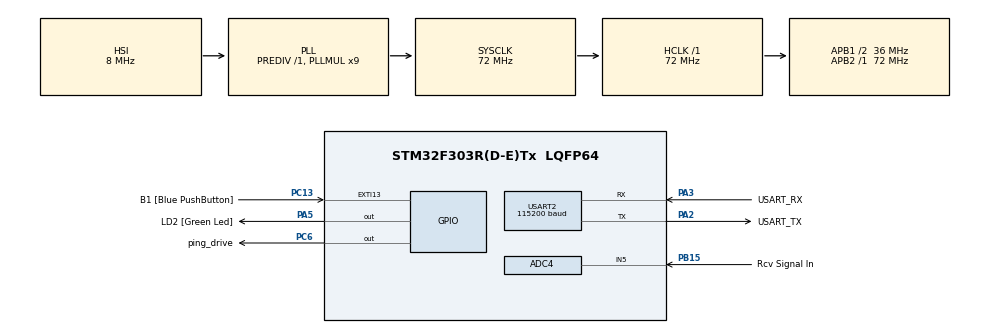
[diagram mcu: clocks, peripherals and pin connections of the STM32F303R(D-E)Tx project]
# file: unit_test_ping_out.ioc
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ADC4.Channel-0\#ChannelRegularConversion=ADC_CHANNEL_5
ADC4.DMAContinuousRequests=ENABLE
ADC4.ExternalTrigConv=ADC_EXTERNALTRIGCONV_T3_TRGO
ADC4.NbrOfConversionFlag=1
ADC4.Offset-0\#ChannelRegularConversion=0
ADC4.OffsetNumber-0\#ChannelRegularConversion=ADC_OFFSET_NONE
ADC4.Rank-0\#ChannelRegularConversion=1
ADC4.SamplingTime-0\#ChannelRegularConversion=ADC_SAMPLETIME_1CYCLE_5
ADC4.SamplingTimeOPAMP-0\#ChannelRegularConversion=ADC_SAMPLETIME_61CYCLES_5
Dma.ADC4.0.Direction=DMA_PERIPH_TO_MEMORY
Dma.ADC4.0.Instance=DMA2_Channel2
Dma.ADC4.0.MemDataAlignment=DMA_MDATAALIGN_HALFWORD
Dma.ADC4.0.MemInc=DMA_MINC_ENABLE
Dma.ADC4.0.Mode=DMA_CIRCULAR
Dma.ADC4.0.PeriphDataAlignment=DMA_PDATAALIGN_HALFWORD
Dma.ADC4.0.PeriphInc=DMA_PINC_DISABLE
Dma.ADC4.0.Priority=DMA_PRIORITY_VERY_HIGH
Dma.Request0=ADC4
Dma.Request1=TIM2_UP
Dma.TIM2_UP.1.Direction=DMA_MEMORY_TO_PERIPH
Dma.TIM2_UP.1.Instance=DMA1_Channel2
Dma.TIM2_UP.1.MemDataAlignment=DMA_MDATAALIGN_WORD
Dma.TIM2_UP.1.MemInc=DMA_MINC_ENABLE
Dma.TIM2_UP.1.Mode=DMA_CIRCULAR
Dma.TIM2_UP.1.PeriphDataAlignment=DMA_PDATAALIGN_WORD
Dma.TIM2_UP.1.PeriphInc=DMA_PINC_DISABLE
Dma.TIM2_UP.1.Priority=DMA_PRIORITY_HIGH
Mcu.Family=STM32F3
Mcu.Name=STM32F303R(D-E)Tx
Mcu.Package=LQFP64
NVIC.DMA1_Channel2_IRQn=true\:0\:0\:false\:false\:true\:false\:true\:true
NVIC.DMA2_Channel2_IRQn=true\:0\:0\:false\:false\:true\:false\:true\:true
NVIC.PriorityGroup=NVIC_PRIORITYGROUP_0
NVIC.USART2_IRQn=true\:0\:0\:false\:false\:true\:true\:true\:true
PA13.GPIO_Label=TMS
PA13.Mode=Serial_Wire
PA13.Signal=SYS_JTMS-SWDIO
PA14.GPIO_Label=TCK
PA14.Mode=Serial_Wire
PA14.Signal=SYS_JTCK-SWCLK
PA2.GPIO_Label=USART_TX
PA2.GPIO_Mode=GPIO_MODE_AF_PP
PA2.GPIO_PuPd=GPIO_NOPULL
PA2.GPIO_Speed=GPIO_SPEED_FREQ_HIGH
PA2.Mode=Asynchronous
PA2.Signal=USART2_TX
PA3.GPIO_Label=USART_RX
PA3.GPIO_Mode=GPIO_MODE_AF_PP
PA3.GPIO_PuPd=GPIO_NOPULL
PA3.GPIO_Speed=GPIO_SPEED_FREQ_HIGH
PA3.Mode=Asynchronous
PA3.Signal=USART2_RX
PA5.GPIO_Label=LD2 [Green Led]
PA5.GPIO_Mode=GPIO_MODE_OUTPUT_PP
PA5.GPIO_PuPd=GPIO_NOPULL
PA5.GPIO_Speed=GPIO_SPEED_FREQ_LOW
PA5.Signal=GPIO_Output
PB15.GPIO_Label=Rcv Signal In
PB15.Mode=IN5-Single-Ended
PB15.Signal=ADC4_IN5
PB3.GPIO_Label=SWO
PB3.Signal=SYS_JTDO-TRACESWO
PC13.GPIO_Label=B1 [Blue PushButton]
PC13.GPIO_ModeDefaultEXTI=GPIO_MODE_IT_FALLING
PC13.Signal=GPXTI13
PC14-OSC32_IN.Mode=LSE-External-Oscillator
PC14-OSC32_IN.Signal=RCC_OSC32_IN
PC15-OSC32_OUT.Mode=LSE-External-Oscillator
PC15-OSC32_OUT.Signal=RCC_OSC32_OUT
PC6.GPIO_Label=ping_drive
PC6.Signal=GPIO_Output
PF0-OSC_IN.Mode=HSE-External-Clock-Source
PF0-OSC_IN.Signal=RCC_OSC_IN
PF1-OSC_OUT.Signal=RCC_OSC_OUT
ProjectManager.HeapSize=0x200
ProjectManager.StackSize=0x400
ProjectManager.TargetToolchain=STM32CubeIDE
RCC.AHBFreq_Value=72000000
RCC.APB1CLKDivider=RCC_HCLK_DIV2
RCC.APB1Freq_Value=36000000
RCC.APB1TimFreq_Value=72000000
RCC.APB2Freq_Value=72000000
RCC.APB2TimFreq_Value=72000000
RCC.CortexFreq_Value=72000000
RCC.HCLKFreq_Value=72000000
RCC.HSE_VALUE=8000000
RCC.HSI_VALUE=8000000
RCC.PLLM=8
RCC.PLLMUL=RCC_PLL_MUL9
RCC.PLLN=336
RCC.PLLP=RCC_PLLP_DIV4
RCC.PLLQ=7
RCC.RCC_PLLsource_Clock_Source_FROM_HSE=RCC_HSE_PREDIV_DIV2
RCC.SYSCLKFreq_VALUE=72000000
RCC.SYSCLKSourceVirtual=RCC_SYSCLKSOURCE_PLLCLK
RCC.USBFreq_Value=72000000
STMicroelectronics.X-CUBE-ALGOBUILD.1.4.0.LibraryCcDSPOoLibraryJjDSPOoLibrary=true
TIM2.AutoReloadPreload=TIM_AUTORELOAD_PRELOAD_ENABLE
TIM2.Period=312-1
TIM2.TIM_MasterOutputTrigger=TIM_TRGO_UPDATE
TIM3.AutoReloadPreload=TIM_AUTORELOAD_PRELOAD_ENABLE
TIM3.Period=52-1
TIM3.TIM_MasterOutputTrigger=TIM_TRGO_UPDATE
USART2.BaudRate=115200
USART2.DMADisableonRxErrorParam=ADVFEATURE_DMA_DISABLEONRXERROR
USART2.VirtualMode-Asynchronous=VM_ASYNC
VP_STMicroelectronics.X-CUBE-ALGOBUILD_VS_DSPOoLibraryJjLibrary_1.4.0_1.4.0.Mode=DSPOoLibraryJjLibrary
VP_TIM2_VS_ClockSourceINT.Mode=Internal
VP_TIM3_VS_ClockSourceINT.Mode=Internal
board=NUCLEO-F303RE

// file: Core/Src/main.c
/* USER CODE BEGIN Header */
/**
  ******************************************************************************
  * @file           : main.c
  * @brief          : Main program body
  ******************************************************************************
  * @attention
  *
  * Copyright (c) 2025 STMicroelectronics.
  * All rights reserved.
  *
  * This software is licensed under terms that can be found in the LICENSE file
  * in the root directory of this software component.
  * If no LICENSE file comes with this software, it is provided AS-IS.
  *
  ******************************************************************************
  */
/* USER CODE END Header */
#include "main.h"

/* USER CODE BEGIN Includes */
#include "tof_master.h"
#include "transponder.h"
#include "cmd_rx.h"
#include "max_peak_detector.h"
#include "ping_out.h"
#include "mode.h"
/* USER CODE END Includes */

ADC_HandleTypeDef hadc4;
DMA_HandleTypeDef hdma_adc4;

TIM_HandleTypeDef htim2;
TIM_HandleTypeDef htim3;
DMA_HandleTypeDef hdma_tim2_up;

UART_HandleTypeDef huart2;

void SystemClock_Config(void);
static void MX_GPIO_Init(void);
static void MX_DMA_Init(void);
static void MX_USART2_UART_Init(void);
static void MX_ADC4_Init(void);
static void MX_TIM2_Init(void);
static void MX_TIM3_Init(void);

int main(void)
{

  /* MCU Configuration--------------------------------------------------------*/

  /* Reset of all peripherals, Initializes the Flash interface and the Systick. */
  HAL_Init();

  /* Configure the system clock */
  SystemClock_Config();

  /* Initialize all configured peripherals */
  MX_GPIO_Init();
  MX_DMA_Init();
  MX_USART2_UART_Init();
  MX_ADC4_Init();
  MX_TIM2_Init();
  MX_TIM3_Init();

  /* Infinite loop */
  while (1)
  {

    /* USER CODE BEGIN 3 */
#if ADC_OVER_UART_MODE

//pgaTestC(&hopamp3);

adc_over_uart(&hadc4, &htim3, &huart1, &hopamp2, &hopamp3);

#elif BASIC_PULSE_STREAM_MODE
basic_pulse_stream_init(&hdma_tim2_up, &htim2);
basic_pulse_stream_main();

#elif BASIC_PEAK_DETECTOR_MODE

peak_detector_main(&hadc4, &htim3, &huart1, &hopamp2, &hopamp3);

#elif TRANSPONDER_MODE
transponder_main(&hadc4, &htim3, &huart2, &hdma_tim2_up, &htim2);

#elif SLOW_TX_MODE
slow_tx_main(&huart1, &hdma_tim2_up, &htim2);

#elif TIME_OF_FLIGHT_MODE || ECHO_MASTER_MODE
tof_master_main(&hadc4, &htim3, &huart2, &hdma_tim2_up, &htim2);
#endif
  }
  /* USER CODE END 3 */
}

void SystemClock_Config(void)
{
  RCC_OscInitTypeDef RCC_OscInitStruct = {0};
  RCC_ClkInitTypeDef RCC_ClkInitStruct = {0};
  RCC_PeriphCLKInitTypeDef PeriphClkInit = {0};

  /** Initializes the RCC Oscillators according to the specified parameters
  * in the RCC_OscInitTypeDef structure.
  */
  RCC_OscInitStruct.OscillatorType = RCC_OSCILLATORTYPE_HSI;
  RCC_OscInitStruct.HSIState = RCC_HSI_ON;
  RCC_OscInitStruct.HSICalibrationValue = RCC_HSICALIBRATION_DEFAULT;
  RCC_OscInitStruct.PLL.PLLState = RCC_PLL_ON;
  RCC_OscInitStruct.PLL.PLLSource = RCC_PLLSOURCE_HSI;
  RCC_OscInitStruct.PLL.PLLMUL = RCC_PLL_MUL9;
  RCC_OscInitStruct.PLL.PREDIV = RCC_PREDIV_DIV1;
  if (HAL_RCC_OscConfig(&RCC_OscInitStruct) != HAL_OK)
  {
    Error_Handler();
  }

  /** Initializes the CPU, AHB and APB buses clocks
  */
  RCC_ClkInitStruct.ClockType = RCC_CLOCKTYPE_HCLK|RCC_CLOCKTYPE_SYSCLK
                              |RCC_CLOCKTYPE_PCLK1|RCC_CLOCKTYPE_PCLK2;
  RCC_ClkInitStruct.SYSCLKSource = RCC_SYSCLKSOURCE_PLLCLK;
  RCC_ClkInitStruct.AHBCLKDivider = RCC_SYSCLK_DIV1;
  RCC_ClkInitStruct.APB1CLKDivider = RCC_HCLK_DIV2;
  RCC_ClkInitStruct.APB2CLKDivider = RCC_HCLK_DIV1;

  if (HAL_RCC_ClockConfig(&RCC_ClkInitStruct, FLASH_LATENCY_2) != HAL_OK)
  {
    Error_Handler();
  }
  PeriphClkInit.PeriphClockSelection = RCC_PERIPHCLK_USART2|RCC_PERIPHCLK_ADC34
                              |RCC_PERIPHCLK_TIM2|RCC_PERIPHCLK_TIM34;
  PeriphClkInit.Usart2ClockSelection = RCC_USART2CLKSOURCE_PCLK1;
  PeriphClkInit.Adc34ClockSelection = RCC_ADC34PLLCLK_DIV1;
  PeriphClkInit.Tim2ClockSelection = RCC_TIM2CLK_HCLK;
  PeriphClkInit.Tim34ClockSelection = RCC_TIM34CLK_HCLK;
  if (HAL_RCCEx_PeriphCLKConfig(&PeriphClkInit) != HAL_OK)
  {
    Error_Handler();
  }
}

static void MX_ADC4_Init(void)
{

  ADC_ChannelConfTypeDef sConfig = {0};

  /** Common config
  */
  hadc4.Instance = ADC4;
  hadc4.Init.ClockPrescaler = ADC_CLOCK_ASYNC_DIV1;
  hadc4.Init.Resolution = ADC_RESOLUTION_12B;
  hadc4.Init.ScanConvMode = ADC_SCAN_DISABLE;
  hadc4.Init.ContinuousConvMode = DISABLE;
  hadc4.Init.DiscontinuousConvMode = DISABLE;
  hadc4.Init.ExternalTrigConvEdge = ADC_EXTERNALTRIGCONVEDGE_RISING;
  hadc4.Init.ExternalTrigConv = ADC_EXTERNALTRIGCONV_T3_TRGO;
  hadc4.Init.DataAlign = ADC_DATAALIGN_RIGHT;
  hadc4.Init.NbrOfConversion = 1;
  hadc4.Init.DMAContinuousRequests = ENABLE;
  hadc4.Init.EOCSelection = ADC_EOC_SINGLE_CONV;
  hadc4.Init.LowPowerAutoWait = DISABLE;
  hadc4.Init.Overrun = ADC_OVR_DATA_OVERWRITTEN;
  if (HAL_ADC_Init(&hadc4) != HAL_OK)
  {
    Error_Handler();
  }

  /** Configure Regular Channel
  */
  sConfig.Channel = ADC_CHANNEL_5;
  sConfig.Rank = ADC_REGULAR_RANK_1;
  sConfig.SingleDiff = ADC_SINGLE_ENDED;
  sConfig.SamplingTime = ADC_SAMPLETIME_1CYCLE_5;
  sConfig.OffsetNumber = ADC_OFFSET_NONE;
  sConfig.Offset = 0;
  if (HAL_ADC_ConfigChannel(&hadc4, &sConfig) != HAL_OK)
  {
    Error_Handler();
  }

}

static void MX_TIM2_Init(void)
{

  TIM_ClockConfigTypeDef sClockSourceConfig = {0};
  TIM_MasterConfigTypeDef sMasterConfig = {0};

  htim2.Instance = TIM2;
  htim2.Init.Prescaler = 0;
  htim2.Init.CounterMode = TIM_COUNTERMODE_UP;
  htim2.Init.Period = 312-1;
  htim2.Init.ClockDivision = TIM_CLOCKDIVISION_DIV1;
  htim2.Init.AutoReloadPreload = TIM_AUTORELOAD_PRELOAD_ENABLE;
  if (HAL_TIM_Base_Init(&htim2) != HAL_OK)
  {
    Error_Handler();
  }
  sClockSourceConfig.ClockSource = TIM_CLOCKSOURCE_INTERNAL;
  if (HAL_TIM_ConfigClockSource(&htim2, &sClockSourceConfig) != HAL_OK)
  {
    Error_Handler();
  }
  sMasterConfig.MasterOutputTrigger = TIM_TRGO_UPDATE;
  sMasterConfig.MasterSlaveMode = TIM_MASTERSLAVEMODE_DISABLE;
  if (HAL_TIMEx_MasterConfigSynchronization(&htim2, &sMasterConfig) != HAL_OK)
  {
    Error_Handler();
  }

}

static void MX_TIM3_Init(void)
{

  TIM_ClockConfigTypeDef sClockSourceConfig = {0};
  TIM_MasterConfigTypeDef sMasterConfig = {0};

  htim3.Instance = TIM3;
  htim3.Init.Prescaler = 0;
  htim3.Init.CounterMode = TIM_COUNTERMODE_UP;
  htim3.Init.Period = 52-1;
  htim3.Init.ClockDivision = TIM_CLOCKDIVISION_DIV1;
  htim3.Init.AutoReloadPreload = TIM_AUTORELOAD_PRELOAD_ENABLE;
  if (HAL_TIM_Base_Init(&htim3) != HAL_OK)
  {
    Error_Handler();
  }
  sClockSourceConfig.ClockSource = TIM_CLOCKSOURCE_INTERNAL;
  if (HAL_TIM_ConfigClockSource(&htim3, &sClockSourceConfig) != HAL_OK)
  {
    Error_Handler();
  }
  sMasterConfig.MasterOutputTrigger = TIM_TRGO_UPDATE;
  sMasterConfig.MasterSlaveMode = TIM_MASTERSLAVEMODE_DISABLE;
  if (HAL_TIMEx_MasterConfigSynchronization(&htim3, &sMasterConfig) != HAL_OK)
  {
    Error_Handler();
  }

}

static void MX_USART2_UART_Init(void)
{

  huart2.Instance = USART2;
  huart2.Init.BaudRate = 115200;
  huart2.Init.WordLength = UART_WORDLENGTH_8B;
  huart2.Init.StopBits = UART_STOPBITS_1;
  huart2.Init.Parity = UART_PARITY_NONE;
  huart2.Init.Mode = UART_MODE_TX_RX;
  huart2.Init.HwFlowCtl = UART_HWCONTROL_NONE;
  huart2.Init.OverSampling = UART_OVERSAMPLING_16;
  huart2.Init.OneBitSampling = UART_ONE_BIT_SAMPLE_DISABLE;
  huart2.AdvancedInit.AdvFeatureInit = UART_ADVFEATURE_DMADISABLEONERROR_INIT;
  huart2.AdvancedInit.DMADisableonRxError = UART_ADVFEATURE_DMA_DISABLEONRXERROR;
  if (HAL_UART_Init(&huart2) != HAL_OK)
  {
    Error_Handler();
  }

}

static void MX_DMA_Init(void)
{

  /* DMA controller clock enable */
  __HAL_RCC_DMA2_CLK_ENABLE();
  __HAL_RCC_DMA1_CLK_ENABLE();

  /* DMA interrupt init */
  /* DMA1_Channel2_IRQn interrupt configuration */
  HAL_NVIC_SetPriority(DMA1_Channel2_IRQn, 0, 0);
  HAL_NVIC_EnableIRQ(DMA1_Channel2_IRQn);
  /* DMA2_Channel2_IRQn interrupt configuration */
  HAL_NVIC_SetPriority(DMA2_Channel2_IRQn, 0, 0);
  HAL_NVIC_EnableIRQ(DMA2_Channel2_IRQn);

}

static void MX_GPIO_Init(void)
{
  GPIO_InitTypeDef GPIO_InitStruct = {0};

  /* GPIO Ports Clock Enable */
  __HAL_RCC_GPIOC_CLK_ENABLE();
  __HAL_RCC_GPIOF_CLK_ENABLE();
  __HAL_RCC_GPIOA_CLK_ENABLE();
  __HAL_RCC_GPIOB_CLK_ENABLE();

  /*Configure GPIO pin Output Level */
  HAL_GPIO_WritePin(LD2_GPIO_Port, LD2_Pin, GPIO_PIN_RESET);

  /*Configure GPIO pin Output Level */
  HAL_GPIO_WritePin(ping_drive_GPIO_Port, ping_drive_Pin, GPIO_PIN_RESET);

  /*Configure GPIO pin : B1_Pin */
  GPIO_InitStruct.Pin = B1_Pin;
  GPIO_InitStruct.Mode = GPIO_MODE_IT_FALLING;
  GPIO_InitStruct.Pull = GPIO_NOPULL;
  HAL_GPIO_Init(B1_GPIO_Port, &GPIO_InitStruct);

  /*Configure GPIO pin : LD2_Pin */
  GPIO_InitStruct.Pin = LD2_Pin;
  GPIO_InitStruct.Mode = GPIO_MODE_OUTPUT_PP;
  GPIO_InitStruct.Pull = GPIO_NOPULL;
  GPIO_InitStruct.Speed = GPIO_SPEED_FREQ_LOW;
  HAL_GPIO_Init(LD2_GPIO_Port, &GPIO_InitStruct);

  /*Configure GPIO pin : ping_drive_Pin */
  GPIO_InitStruct.Pin = ping_drive_Pin;
  GPIO_InitStruct.Mode = GPIO_MODE_OUTPUT_PP;
  GPIO_InitStruct.Pull = GPIO_NOPULL;
  GPIO_InitStruct.Speed = GPIO_SPEED_FREQ_LOW;
  HAL_GPIO_Init(ping_drive_GPIO_Port, &GPIO_InitStruct);

}

void Error_Handler(void)
{
  __disable_irq();
  while (1)
  {
  }
}
